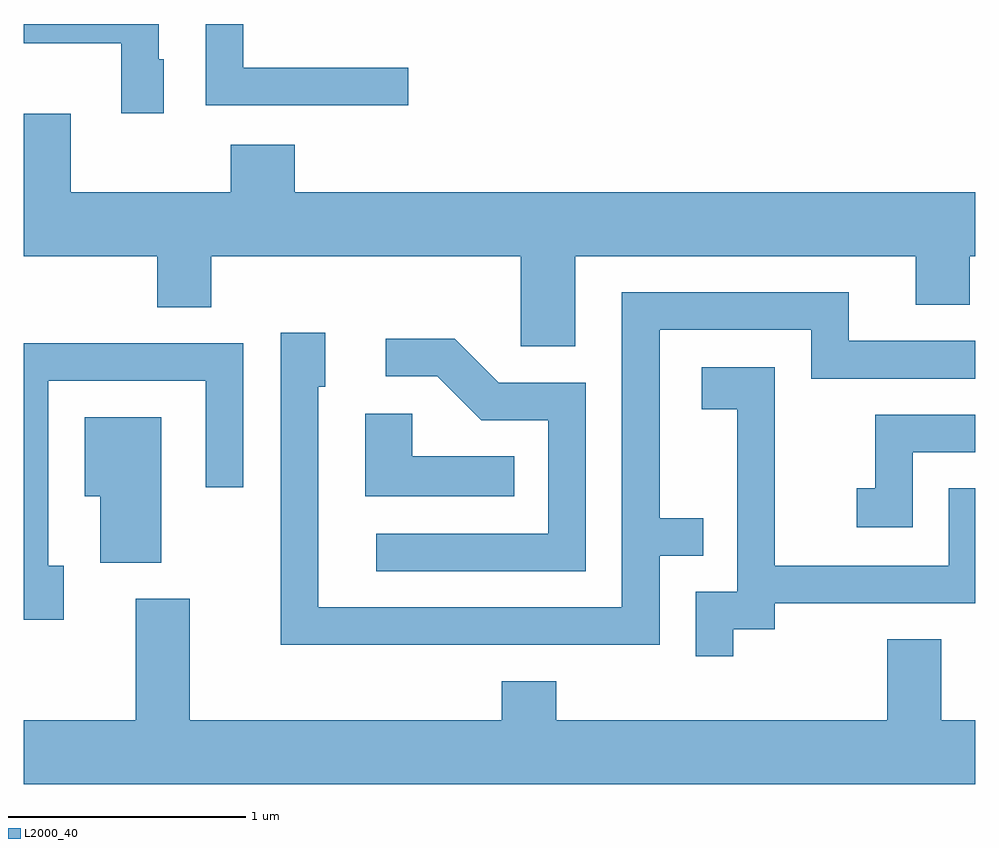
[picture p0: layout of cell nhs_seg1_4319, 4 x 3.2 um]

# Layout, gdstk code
import gdstk
lib = gdstk.Library(unit=1e-6, precision=1e-09)
def P(c, l, *ps):  # polygons
    for p in ps: c.add(gdstk.Polygon(p, *l))
L2000_40 = (2000, 40)

nhs_seg1_4319 = lib.new_cell('nhs_seg1_4319')
P(nhs_seg1_4319, L2000_40, [(316.199,851.564),(316.179,851.564),(316.179,851.712),(315.611,851.712),(315.611,851.631),(316.021,851.631),(316.021,851.336),(316.199,851.336)],
  [(317.228,851.529),(316.534,851.529),(316.534,851.712),(316.376,851.712),(316.376,851.371),(317.228,851.371)],
  [(317.929,850.736),(319.361,850.736),(319.361,850.531),(319.589,850.531),(319.589,850.736),(319.611,850.736),(319.611,851.004),(316.749,851.004),(316.749,851.204),(316.481,851.204),(316.481,851.004),(315.809,851.004),(315.809,851.334),(315.611,851.334),(315.611,850.736),(316.171,850.736),(316.171,850.521),(316.399,850.521),(316.399,850.736),(317.701,850.736),(317.701,850.356),(317.929,850.356)],
  [(318.284,849.476),(318.468,849.476),(318.468,849.634),(318.284,849.634),(318.284,850.426),(318.921,850.426),(318.921,850.221),(319.611,850.221),(319.611,850.379),(319.079,850.379),(319.079,850.584),(318.126,850.584),(318.126,849.259),(316.849,849.259),(316.849,850.186),(316.879,850.186),(316.879,850.414),(316.691,850.414),(316.691,849.101),(318.284,849.101)],
  [(317.974,850.204),(317.607,850.204),(317.422,850.389),(317.133,850.389),(317.133,850.231),(317.349,850.231),(317.534,850.046),(317.816,850.046),(317.816,849.569),(317.093,849.569),(317.093,849.411),(317.974,849.411)],
  [(315.779,849.434),(315.714,849.434),(315.714,850.211),(316.376,850.211),(316.376,849.763),(316.534,849.763),(316.534,850.369),(315.611,850.369),(315.611,849.206),(315.779,849.206)],
  [(318.594,849.166),(318.769,849.166),(318.769,849.276),(319.611,849.276),(319.611,849.759),(319.501,849.759),(319.501,849.434),(318.769,849.434),(318.769,850.269),(318.461,850.269),(318.461,850.091),(318.611,850.091),(318.611,849.324),(318.436,849.324),(318.436,849.053),(318.594,849.053)],
  [(317.673,849.894),(317.244,849.894),(317.244,850.074),(317.046,850.074),(317.046,849.726),(317.673,849.726)],
  [(319.349,849.911),(319.611,849.911),(319.611,850.069),(319.191,850.069),(319.191,849.759),(319.113,849.759),(319.113,849.596),(319.349,849.596)],
  [(316.189,850.059),(315.866,850.059),(315.866,849.726),(315.931,849.726),(315.931,849.446),(316.189,849.446)],
  [(317.621,848.949),(317.621,848.784),(316.309,848.784),(316.309,849.294),(316.081,849.294),(316.081,848.784),(315.611,848.784),(315.611,848.516),(319.611,848.516),(319.611,848.784),(319.469,848.784),(319.469,849.124),(319.241,849.124),(319.241,848.784),(317.849,848.784),(317.849,848.949)])

lib.write_gds('nhs_seg1_4319.gds')
